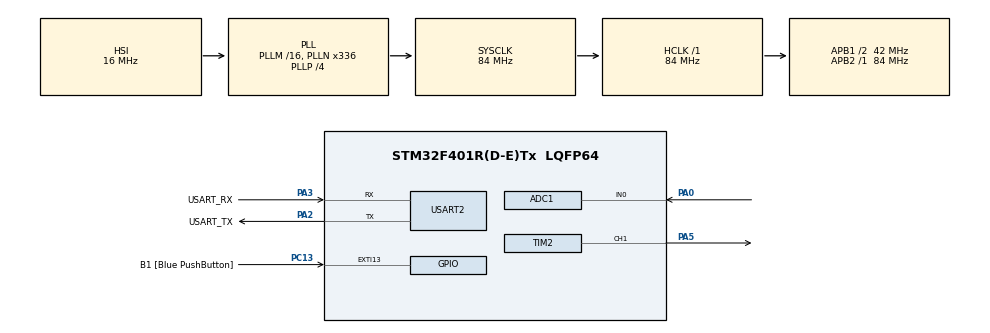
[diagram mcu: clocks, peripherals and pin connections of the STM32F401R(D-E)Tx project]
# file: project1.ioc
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ADC1.Channel-0\#ChannelRegularConversion=ADC_CHANNEL_0
ADC1.NbrOfConversionFlag=1
ADC1.Rank-0\#ChannelRegularConversion=1
ADC1.SamplingTime-0\#ChannelRegularConversion=ADC_SAMPLETIME_15CYCLES
ADC1.master=1
FREERTOS.Tasks01=setbrightness,24,128,setbrightness1,Default,NULL,Dynamic,NULL,NULL;sendreading,8,128,sendreading1,Default,NULL,Dynamic,NULL,NULL
Mcu.Family=STM32F4
Mcu.Name=STM32F401R(D-E)Tx
Mcu.Package=LQFP64
NVIC.ADC_IRQn=true\:5\:0\:false\:false\:true\:true\:true\:true\:true
NVIC.PriorityGroup=NVIC_PRIORITYGROUP_4
PA0-WKUP.Signal=ADCx_IN0
PA13.GPIO_Label=TMS
PA13.Mode=Serial_Wire
PA13.Signal=SYS_JTMS-SWDIO
PA14.GPIO_Label=TCK
PA14.Mode=Serial_Wire
PA14.Signal=SYS_JTCK-SWCLK
PA2.GPIO_Label=USART_TX
PA2.GPIO_Mode=GPIO_MODE_AF_PP
PA2.GPIO_PuPd=GPIO_NOPULL
PA2.GPIO_Speed=GPIO_SPEED_FREQ_LOW
PA2.Mode=Asynchronous
PA2.Signal=USART2_TX
PA3.GPIO_Label=USART_RX
PA3.GPIO_Mode=GPIO_MODE_AF_PP
PA3.GPIO_PuPd=GPIO_NOPULL
PA3.GPIO_Speed=GPIO_SPEED_FREQ_LOW
PA3.Mode=Asynchronous
PA3.Signal=USART2_RX
PA5.Signal=S_TIM2_CH1_ETR
PB3.GPIO_Label=SWO
PB3.Signal=SYS_JTDO-SWO
PC13-ANTI_TAMP.GPIO_Label=B1 [Blue PushButton]
PC13-ANTI_TAMP.GPIO_ModeDefaultEXTI=GPIO_MODE_IT_FALLING
PC13-ANTI_TAMP.GPIO_PuPd=GPIO_NOPULL
PC13-ANTI_TAMP.Signal=GPXTI13
PC14-OSC32_IN.Mode=LSE-External-Oscillator
PC14-OSC32_IN.Signal=RCC_OSC32_IN
PC15-OSC32_OUT.Mode=LSE-External-Oscillator
PC15-OSC32_OUT.Signal=RCC_OSC32_OUT
PH0\ -\ OSC_IN.Mode=HSE-External-Clock-Source
PH0\ -\ OSC_IN.Signal=RCC_OSC_IN
PH1\ -\ OSC_OUT.Mode=HSE-External-Clock-Source
PH1\ -\ OSC_OUT.Signal=RCC_OSC_OUT
ProjectManager.HeapSize=0x200
ProjectManager.StackSize=0x400
ProjectManager.TargetToolchain=STM32CubeIDE
RCC.48MHZClocksFreq_Value=48000000
RCC.AHBFreq_Value=84000000
RCC.APB1CLKDivider=RCC_HCLK_DIV2
RCC.APB1Freq_Value=42000000
RCC.APB1TimFreq_Value=84000000
RCC.APB2Freq_Value=84000000
RCC.APB2TimFreq_Value=84000000
RCC.CortexFreq_Value=84000000
RCC.HCLKFreq_Value=84000000
RCC.HSE_VALUE=8000000
RCC.HSI_VALUE=16000000
RCC.PLLN=336
RCC.PLLP=RCC_PLLP_DIV4
RCC.PLLQ=7
RCC.SYSCLKFreq_VALUE=84000000
RCC.SYSCLKSource=RCC_SYSCLKSOURCE_PLLCLK
RCC.VCOOutputFreq_Value=336000000
SH.ADCx_IN0.0=ADC1_IN0,IN0
SH.S_TIM2_CH1_ETR.0=TIM2_CH1,PWM Generation1 CH1
TIM2.Channel-PWM\ Generation1\ CH1=TIM_CHANNEL_1
TIM2.Period=255
USART2.VirtualMode=VM_ASYNC
VP_FREERTOS_VS_CMSIS_V2.Mode=CMSIS_V2
board=NUCLEO-F401RE

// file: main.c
/* USER CODE BEGIN Header */
/**
  ******************************************************************************
  * @file           : main.c
  * @brief          : Main program body
  ******************************************************************************
  * @attention
  *
  * Copyright (c) 2024 STMicroelectronics.
  * All rights reserved.
  *
  * This software is licensed under terms that can be found in the LICENSE file
  * in the root directory of this software component.
  * If no LICENSE file comes with this software, it is provided AS-IS.
  *
  ******************************************************************************
  */
/* USER CODE END Header */
#include "main.h"
#include "cmsis_os.h"

/* USER CODE BEGIN Includes */
#include <string.h>
#include <stdio.h>
/* USER CODE END Includes */

ADC_HandleTypeDef hadc1;

TIM_HandleTypeDef htim2;

UART_HandleTypeDef huart2;

/* Definitions for setbrightness */
osThreadId_t setbrightnessHandle;
const osThreadAttr_t setbrightness_attributes = {
  .name = "setbrightness",
  .stack_size = 128 * 4,
  .priority = (osPriority_t) osPriorityNormal,
};
/* Definitions for sendreading */
osThreadId_t sendreadingHandle;
const osThreadAttr_t sendreading_attributes = {
  .name = "sendreading",
  .stack_size = 128 * 4,
  .priority = (osPriority_t) osPriorityLow,
};
/* USER CODE BEGIN PV */
uint16_t lux;
uint16_t adcValue;
uint16_t pwmValue;
uint16_t msg[];
uint16_t asg[];
/* USER CODE END PV */

void SystemClock_Config(void);
static void MX_GPIO_Init(void);
static void MX_USART2_UART_Init(void);
static void MX_ADC1_Init(void);
static void MX_TIM2_Init(void);
void setbrightness1(void *argument);
void sendreading1(void *argument);

int main(void)
{

  /* MCU Configuration--------------------------------------------------------*/

  /* Reset of all peripherals, Initializes the Flash interface and the Systick. */
  HAL_Init();

  /* Configure the system clock */
  SystemClock_Config();

  /* Initialize all configured peripherals */
  MX_GPIO_Init();
  MX_USART2_UART_Init();
  MX_ADC1_Init();
  MX_TIM2_Init();
  HAL_TIM_PWM_Start(&htim2, TIM_CHANNEL_1);

  /* Init scheduler */
  osKernelInitialize();

  /* Create the thread(s) */
  /* creation of setbrightness */
  setbrightnessHandle = osThreadNew(setbrightness1, NULL, &setbrightness_attributes);

  /* creation of sendreading */
  sendreadingHandle = osThreadNew(sendreading1, NULL, &sendreading_attributes);

  /* Start scheduler */
  osKernelStart();

  /* We should never get here as control is now taken by the scheduler */
  /* Infinite loop */
  while (1)
  {

  }
}

void SystemClock_Config(void)
{
  RCC_OscInitTypeDef RCC_OscInitStruct = {0};
  RCC_ClkInitTypeDef RCC_ClkInitStruct = {0};

  /** Configure the main internal regulator output voltage
  */
  __HAL_RCC_PWR_CLK_ENABLE();
  __HAL_PWR_VOLTAGESCALING_CONFIG(PWR_REGULATOR_VOLTAGE_SCALE2);

  /** Initializes the RCC Oscillators according to the specified parameters
  * in the RCC_OscInitTypeDef structure.
  */
  RCC_OscInitStruct.OscillatorType = RCC_OSCILLATORTYPE_HSI;
  RCC_OscInitStruct.HSIState = RCC_HSI_ON;
  RCC_OscInitStruct.HSICalibrationValue = RCC_HSICALIBRATION_DEFAULT;
  RCC_OscInitStruct.PLL.PLLState = RCC_PLL_ON;
  RCC_OscInitStruct.PLL.PLLSource = RCC_PLLSOURCE_HSI;
  RCC_OscInitStruct.PLL.PLLM = 16;
  RCC_OscInitStruct.PLL.PLLN = 336;
  RCC_OscInitStruct.PLL.PLLP = RCC_PLLP_DIV4;
  RCC_OscInitStruct.PLL.PLLQ = 7;
  if (HAL_RCC_OscConfig(&RCC_OscInitStruct) != HAL_OK)
  {
    Error_Handler();
  }

  /** Initializes the CPU, AHB and APB buses clocks
  */
  RCC_ClkInitStruct.ClockType = RCC_CLOCKTYPE_HCLK|RCC_CLOCKTYPE_SYSCLK
                              |RCC_CLOCKTYPE_PCLK1|RCC_CLOCKTYPE_PCLK2;
  RCC_ClkInitStruct.SYSCLKSource = RCC_SYSCLKSOURCE_PLLCLK;
  RCC_ClkInitStruct.AHBCLKDivider = RCC_SYSCLK_DIV1;
  RCC_ClkInitStruct.APB1CLKDivider = RCC_HCLK_DIV2;
  RCC_ClkInitStruct.APB2CLKDivider = RCC_HCLK_DIV1;

  if (HAL_RCC_ClockConfig(&RCC_ClkInitStruct, FLASH_LATENCY_2) != HAL_OK)
  {
    Error_Handler();
  }
}

static void MX_ADC1_Init(void)
{

  ADC_ChannelConfTypeDef sConfig = {0};

  /** Configure the global features of the ADC (Clock, Resolution, Data Alignment and number of conversion)
  */
  hadc1.Instance = ADC1;
  hadc1.Init.ClockPrescaler = ADC_CLOCK_SYNC_PCLK_DIV4;
  hadc1.Init.Resolution = ADC_RESOLUTION_12B;
  hadc1.Init.ScanConvMode = DISABLE;
  hadc1.Init.ContinuousConvMode = DISABLE;
  hadc1.Init.DiscontinuousConvMode = DISABLE;
  hadc1.Init.ExternalTrigConvEdge = ADC_EXTERNALTRIGCONVEDGE_NONE;
  hadc1.Init.ExternalTrigConv = ADC_SOFTWARE_START;
  hadc1.Init.DataAlign = ADC_DATAALIGN_RIGHT;
  hadc1.Init.NbrOfConversion = 1;
  hadc1.Init.DMAContinuousRequests = DISABLE;
  hadc1.Init.EOCSelection = ADC_EOC_SINGLE_CONV;
  if (HAL_ADC_Init(&hadc1) != HAL_OK)
  {
    Error_Handler();
  }

  /** Configure for the selected ADC regular channel its corresponding rank in the sequencer and its sample time.
  */
  sConfig.Channel = ADC_CHANNEL_0;
  sConfig.Rank = 1;
  sConfig.SamplingTime = ADC_SAMPLETIME_15CYCLES;
  if (HAL_ADC_ConfigChannel(&hadc1, &sConfig) != HAL_OK)
  {
    Error_Handler();
  }

}

static void MX_TIM2_Init(void)
{

  TIM_MasterConfigTypeDef sMasterConfig = {0};
  TIM_OC_InitTypeDef sConfigOC = {0};

  htim2.Instance = TIM2;
  htim2.Init.Prescaler = 0;
  htim2.Init.CounterMode = TIM_COUNTERMODE_UP;
  htim2.Init.Period = 255;
  htim2.Init.ClockDivision = TIM_CLOCKDIVISION_DIV1;
  htim2.Init.AutoReloadPreload = TIM_AUTORELOAD_PRELOAD_DISABLE;
  if (HAL_TIM_PWM_Init(&htim2) != HAL_OK)
  {
    Error_Handler();
  }
  sMasterConfig.MasterOutputTrigger = TIM_TRGO_RESET;
  sMasterConfig.MasterSlaveMode = TIM_MASTERSLAVEMODE_DISABLE;
  if (HAL_TIMEx_MasterConfigSynchronization(&htim2, &sMasterConfig) != HAL_OK)
  {
    Error_Handler();
  }
  sConfigOC.OCMode = TIM_OCMODE_PWM1;
  sConfigOC.Pulse = 0;
  sConfigOC.OCPolarity = TIM_OCPOLARITY_HIGH;
  sConfigOC.OCFastMode = TIM_OCFAST_DISABLE;
  if (HAL_TIM_PWM_ConfigChannel(&htim2, &sConfigOC, TIM_CHANNEL_1) != HAL_OK)
  {
    Error_Handler();
  }
  HAL_TIM_MspPostInit(&htim2);

}

static void MX_USART2_UART_Init(void)
{

  huart2.Instance = USART2;
  huart2.Init.BaudRate = 115200;
  huart2.Init.WordLength = UART_WORDLENGTH_8B;
  huart2.Init.StopBits = UART_STOPBITS_1;
  huart2.Init.Parity = UART_PARITY_NONE;
  huart2.Init.Mode = UART_MODE_TX_RX;
  huart2.Init.HwFlowCtl = UART_HWCONTROL_NONE;
  huart2.Init.OverSampling = UART_OVERSAMPLING_16;
  if (HAL_UART_Init(&huart2) != HAL_OK)
  {
    Error_Handler();
  }

}

static void MX_GPIO_Init(void)
{
  GPIO_InitTypeDef GPIO_InitStruct = {0};

  /* GPIO Ports Clock Enable */
  __HAL_RCC_GPIOC_CLK_ENABLE();
  __HAL_RCC_GPIOH_CLK_ENABLE();
  __HAL_RCC_GPIOA_CLK_ENABLE();
  __HAL_RCC_GPIOB_CLK_ENABLE();

  /*Configure GPIO pin : B1_Pin */
  GPIO_InitStruct.Pin = B1_Pin;
  GPIO_InitStruct.Mode = GPIO_MODE_IT_FALLING;
  GPIO_InitStruct.Pull = GPIO_NOPULL;
  HAL_GPIO_Init(B1_GPIO_Port, &GPIO_InitStruct);

}

void setbrightness1(void *argument)
{
  /* USER CODE BEGIN 5 */
  /* Infinite loop */
  for(;;)
  {
	  HAL_ADC_Start(&hadc1);
	  	  HAL_ADC_PollForConversion(&hadc1, HAL_MAX_DELAY);
	  	  adcValue = HAL_ADC_GetValue(&hadc1);
	  	  sprintf(msg, "light intensity in range 0 - 4095: %hu \r\n", adcValue);
	  	  HAL_UART_Transmit(&huart2, msg, strlen(msg), HAL_MAX_DELAY);
//	  	if (adcValue<2000){
//	  			  HAL_GPIO_WritePin(GPIOA, GPIO_PIN_5, GPIO_PIN_SET);
//	  		  }
//	  		  else{
//	  			  HAL_GPIO_WritePin(GPIOA, GPIO_PIN_5, GPIO_PIN_RESET);
//	  		  }
//	      Scale ADC value to PWM duty cycle (reversed mapping)
//	  	  pwmValue = 255 - ((adcValue * 255) / 4095);
//	  	  __HAL_TIM_SET_COMPARE(&htim2, TIM_CHANNEL_1, pwmValue);
//	  HAL_GPIO_TogglePin(GPIOA, GPIO_PIN_5);
//   	  HAL_UART_Transmit(&huart2, asg, strlen(asg), HAL_MAX_DELAY);
    osDelay(1000);
  }
  /* USER CODE END 5 */
}

void sendreading1(void *argument)
{
  /* USER CODE BEGIN sendreading1 */
  /* Infinite loop */
  for(;;)
  {
//	  HAL_ADC_Start(&hadc1);
//	  	  HAL_ADC_PollForConversion(&hadc1, HAL_MAX_DELAY);
//	  	  lux = HAL_ADC_GetValue(&hadc1);
//	  	  sprintf(asg, "light intensity in range 0 - 4095: %hu \r\n", lux);
//	      pwmValue = ((3000-adcValue)*255)/2000;
	      if (adcValue > 3000) {
	          pwmValue = 0;  // Turn off the LED
	      } else if (adcValue < 1000) {
	          pwmValue = 255;  // Maximum brightness
	      } else {
	          pwmValue = ((3000 - adcValue) * 255) / 2000;
	      }
	  	  __HAL_TIM_SET_COMPARE(&htim2, TIM_CHANNEL_1, pwmValue);

//    osDelay(1000);
  }
  /* USER CODE END sendreading1 */
}

void Error_Handler(void)
{
  __disable_irq();
  while (1)
  {
  }
}
